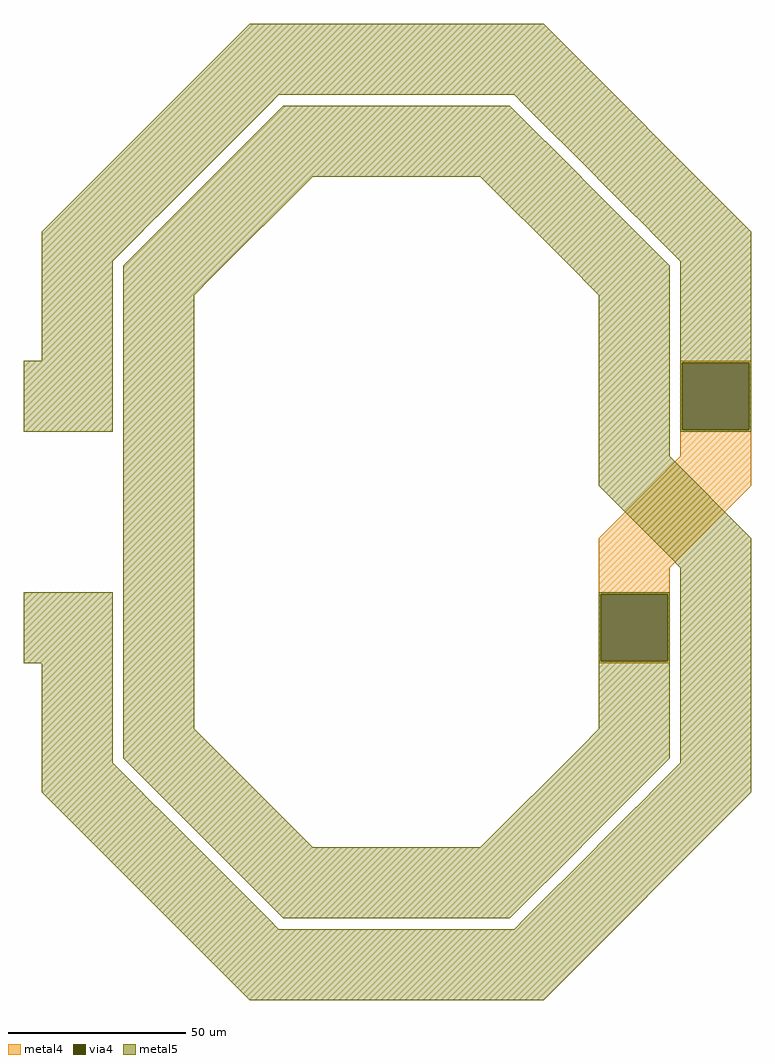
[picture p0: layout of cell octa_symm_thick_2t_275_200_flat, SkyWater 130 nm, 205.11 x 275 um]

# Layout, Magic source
magic
tech sky130B
magscale 1 2
<< metal4 >>
rect -6300 -11576 -2300 -11464
rect -6300 -15352 -6188 -11576
rect -2412 -15352 -2300 -11576
tri -7958 -18529 -6300 -16871 se
rect -6300 -18529 -2300 -15352
tri -10900 -21471 -7958 -18529 se
rect -7958 -21471 -6900 -18529
rect -10900 -24648 -6900 -21471
tri -6900 -23129 -2300 -18529 nw
rect -10900 -28424 -10788 -24648
rect -7012 -28424 -6900 -24648
rect -10900 -28536 -6900 -28424
<< via4 >>
rect -6188 -15352 -2412 -11576
rect -10788 -28424 -7012 -24648
<< metal5 >>
tri -34584 3500 -30584 7500 se
rect -30584 3500 -14016 7500
tri -14016 3500 -10016 7500 sw
tri -38300 -216 -34584 3500 se
rect -34584 2900 -29527 3500
tri -29527 2900 -28927 3500 nw
tri -15673 2900 -15073 3500 ne
rect -15073 2900 -10016 3500
rect -34584 2052 -30375 2900
tri -30375 2052 -29527 2900 nw
tri -29527 2052 -28679 2900 se
rect -28679 2052 -15921 2900
tri -15921 2052 -15073 2900 sw
tri -15073 2052 -14225 2900 ne
rect -14225 2052 -10016 2900
rect -34584 1204 -31223 2052
tri -31223 1204 -30375 2052 nw
tri -30375 1204 -29527 2052 se
rect -29527 1204 -15073 2052
tri -15073 1204 -14225 2052 sw
tri -14225 1204 -13377 2052 ne
rect -13377 1204 -10016 2052
rect -34584 632 -31795 1204
tri -31795 632 -31223 1204 nw
tri -30947 632 -30375 1204 se
rect -30375 632 -14225 1204
tri -14225 632 -13653 1204 sw
tri -13377 632 -12805 1204 ne
rect -12805 632 -10016 1204
rect -34584 -216 -32643 632
tri -32643 -216 -31795 632 nw
tri -31795 -216 -30947 632 se
rect -30947 -216 -13653 632
tri -13653 -216 -12805 632 sw
tri -12805 -216 -11957 632 ne
rect -11957 -216 -10016 632
tri -10016 -216 -6300 3500 sw
tri -40241 -2157 -38300 -216 se
rect -38300 -252 -32679 -216
tri -32679 -252 -32643 -216 nw
tri -31831 -252 -31795 -216 se
rect -31795 -252 -12805 -216
rect -38300 -1100 -33527 -252
tri -33527 -1100 -32679 -252 nw
tri -32679 -1100 -31831 -252 se
rect -31831 -1064 -12805 -252
tri -12805 -1064 -11957 -216 sw
tri -11957 -1064 -11109 -216 ne
rect -11109 -1064 -6300 -216
rect -31831 -1100 -11957 -1064
rect -38300 -1948 -34375 -1100
tri -34375 -1948 -33527 -1100 nw
tri -33527 -1948 -32679 -1100 se
rect -38300 -2157 -34584 -1948
tri -34584 -2157 -34375 -1948 nw
tri -33736 -2157 -33527 -1948 se
rect -33527 -2157 -32679 -1948
tri -42300 -4216 -40241 -2157 se
rect -40241 -3005 -35432 -2157
tri -35432 -3005 -34584 -2157 nw
tri -34584 -3005 -33736 -2157 se
rect -33736 -3005 -32679 -2157
rect -40241 -3853 -36280 -3005
tri -36280 -3853 -35432 -3005 nw
tri -35432 -3853 -34584 -3005 se
rect -34584 -3853 -32679 -3005
rect -40241 -4216 -36852 -3853
rect -42300 -4425 -36852 -4216
tri -36852 -4425 -36280 -3853 nw
tri -36004 -4425 -35432 -3853 se
rect -35432 -4425 -32679 -3853
rect -42300 -5273 -37700 -4425
tri -37700 -5273 -36852 -4425 nw
tri -36852 -5273 -36004 -4425 se
rect -36004 -5273 -32679 -4425
rect -42300 -11464 -38300 -5273
tri -38300 -5873 -37700 -5273 nw
rect -43322 -15464 -38300 -11464
tri -37700 -6121 -36852 -5273 se
rect -36852 -6121 -32679 -5273
rect -37700 -6757 -32679 -6121
tri -32679 -6757 -27022 -1100 nw
tri -17578 -5873 -12805 -1100 ne
rect -12805 -1273 -11957 -1100
tri -11957 -1273 -11748 -1064 sw
tri -11109 -1273 -10900 -1064 ne
rect -10900 -1273 -6300 -1064
rect -12805 -2121 -11748 -1273
tri -11748 -2121 -10900 -1273 sw
tri -10900 -2121 -10052 -1273 ne
rect -10052 -2121 -6300 -1273
rect -12805 -2969 -10900 -2121
tri -10900 -2969 -10052 -2121 sw
tri -10052 -2969 -9204 -2121 ne
rect -9204 -2969 -6300 -2121
rect -12805 -3817 -10052 -2969
tri -10052 -3817 -9204 -2969 sw
tri -9204 -3817 -8356 -2969 ne
rect -8356 -3817 -6300 -2969
rect -12805 -4425 -9204 -3817
tri -9204 -4425 -8596 -3817 sw
tri -8356 -4425 -7748 -3817 ne
rect -7748 -4216 -6300 -3817
tri -6300 -4216 -2300 -216 sw
rect -7748 -4425 -2300 -4216
rect -12805 -5273 -8596 -4425
tri -8596 -5273 -7748 -4425 sw
tri -7748 -5273 -6900 -4425 ne
rect -6900 -5273 -2300 -4425
rect -12805 -5873 -7748 -5273
rect -43322 -28536 -38300 -24536
rect -42300 -34727 -38300 -28536
rect -37700 -33879 -33700 -6757
tri -33700 -7778 -32679 -6757 nw
tri -12805 -7778 -10900 -5873 ne
rect -10900 -6121 -7748 -5873
tri -7748 -6121 -6900 -5273 sw
tri -6900 -5873 -6300 -5273 ne
rect -10900 -18529 -6900 -6121
rect -6300 -11576 -2300 -5273
rect -6300 -15352 -6188 -11576
rect -2412 -15352 -2300 -11576
rect -6300 -15464 -2300 -15352
tri -10900 -22529 -6900 -18529 ne
tri -6900 -21471 -2300 -16871 sw
rect -6900 -22529 -2300 -21471
tri -6900 -23129 -6300 -22529 ne
rect -10900 -24648 -6900 -24536
rect -10900 -28424 -10788 -24648
rect -7012 -28424 -6900 -24648
tri -38300 -34727 -37700 -34127 sw
tri -37700 -34727 -36852 -33879 ne
rect -36852 -34727 -33700 -33879
rect -42300 -35575 -37700 -34727
tri -37700 -35575 -36852 -34727 sw
tri -36852 -35575 -36004 -34727 ne
rect -36004 -35575 -33700 -34727
rect -42300 -35784 -36852 -35575
tri -42300 -39784 -38300 -35784 ne
rect -38300 -36147 -36852 -35784
tri -36852 -36147 -36280 -35575 sw
tri -36004 -36147 -35432 -35575 ne
rect -35432 -36147 -33700 -35575
rect -38300 -36995 -36280 -36147
tri -36280 -36995 -35432 -36147 sw
tri -35432 -36995 -34584 -36147 ne
rect -34584 -36995 -33700 -36147
rect -38300 -37843 -35432 -36995
tri -35432 -37843 -34584 -36995 sw
tri -34584 -37843 -33736 -36995 ne
rect -33736 -37843 -33700 -36995
tri -33700 -37843 -28079 -32222 sw
tri -11921 -33243 -10900 -32222 se
rect -10900 -33243 -6900 -28424
tri -12805 -34127 -11921 -33243 se
rect -11921 -33879 -6900 -33243
rect -11921 -34127 -7748 -33879
rect -38300 -38052 -34584 -37843
tri -34584 -38052 -34375 -37843 sw
tri -33736 -38052 -33527 -37843 ne
rect -33527 -38052 -28079 -37843
rect -38300 -38900 -34375 -38052
tri -34375 -38900 -33527 -38052 sw
tri -33527 -38900 -32679 -38052 ne
rect -32679 -38900 -28079 -38052
tri -28079 -38900 -27022 -37843 sw
tri -16557 -37879 -12805 -34127 se
rect -12805 -34727 -7748 -34127
tri -7748 -34727 -6900 -33879 nw
tri -6900 -34727 -6300 -34127 se
rect -6300 -34727 -2300 -22529
rect -12805 -35575 -8596 -34727
tri -8596 -35575 -7748 -34727 nw
tri -7748 -35575 -6900 -34727 se
rect -6900 -35575 -2300 -34727
rect -12805 -36183 -9204 -35575
tri -9204 -36183 -8596 -35575 nw
tri -8356 -36183 -7748 -35575 se
rect -7748 -35784 -2300 -35575
rect -7748 -36183 -6300 -35784
rect -12805 -37031 -10052 -36183
tri -10052 -37031 -9204 -36183 nw
tri -9204 -37031 -8356 -36183 se
rect -8356 -37031 -6300 -36183
rect -12805 -37879 -10900 -37031
tri -10900 -37879 -10052 -37031 nw
tri -10052 -37879 -9204 -37031 se
rect -9204 -37879 -6300 -37031
tri -17578 -38900 -16557 -37879 se
rect -16557 -38727 -11748 -37879
tri -11748 -38727 -10900 -37879 nw
tri -10900 -38727 -10052 -37879 se
rect -10052 -38727 -6300 -37879
rect -16557 -38900 -11957 -38727
rect -38300 -39748 -33527 -38900
tri -33527 -39748 -32679 -38900 sw
tri -32679 -39748 -31831 -38900 ne
rect -31831 -38936 -11957 -38900
tri -11957 -38936 -11748 -38727 nw
tri -11109 -38936 -10900 -38727 se
rect -10900 -38936 -6300 -38727
rect -31831 -39748 -12805 -38936
rect -38300 -39784 -32679 -39748
tri -32679 -39784 -32643 -39748 sw
tri -31831 -39784 -31795 -39748 ne
rect -31795 -39784 -12805 -39748
tri -12805 -39784 -11957 -38936 nw
tri -11957 -39784 -11109 -38936 se
rect -11109 -39784 -6300 -38936
tri -6300 -39784 -2300 -35784 nw
tri -38300 -43500 -34584 -39784 ne
rect -34584 -40632 -32643 -39784
tri -32643 -40632 -31795 -39784 sw
tri -31795 -40632 -30947 -39784 ne
rect -30947 -40632 -13653 -39784
tri -13653 -40632 -12805 -39784 nw
tri -12805 -40632 -11957 -39784 se
rect -11957 -40632 -10016 -39784
rect -34584 -41204 -31795 -40632
tri -31795 -41204 -31223 -40632 sw
tri -30947 -41204 -30375 -40632 ne
rect -30375 -41204 -14225 -40632
tri -14225 -41204 -13653 -40632 nw
tri -13377 -41204 -12805 -40632 se
rect -12805 -41204 -10016 -40632
rect -34584 -42052 -31223 -41204
tri -31223 -42052 -30375 -41204 sw
tri -30375 -42052 -29527 -41204 ne
rect -29527 -42052 -15073 -41204
tri -15073 -42052 -14225 -41204 nw
tri -14225 -42052 -13377 -41204 se
rect -13377 -42052 -10016 -41204
rect -34584 -42900 -30375 -42052
tri -30375 -42900 -29527 -42052 sw
tri -29527 -42900 -28679 -42052 ne
rect -28679 -42900 -15921 -42052
tri -15921 -42900 -15073 -42052 nw
tri -15073 -42900 -14225 -42052 se
rect -14225 -42900 -10016 -42052
rect -34584 -43500 -29527 -42900
tri -29527 -43500 -28927 -42900 sw
tri -15673 -43500 -15073 -42900 se
rect -15073 -43500 -10016 -42900
tri -10016 -43500 -6300 -39784 nw
tri -34584 -47500 -30584 -43500 ne
rect -30584 -47500 -14016 -43500
tri -14016 -47500 -10016 -43500 nw
<< end >>
